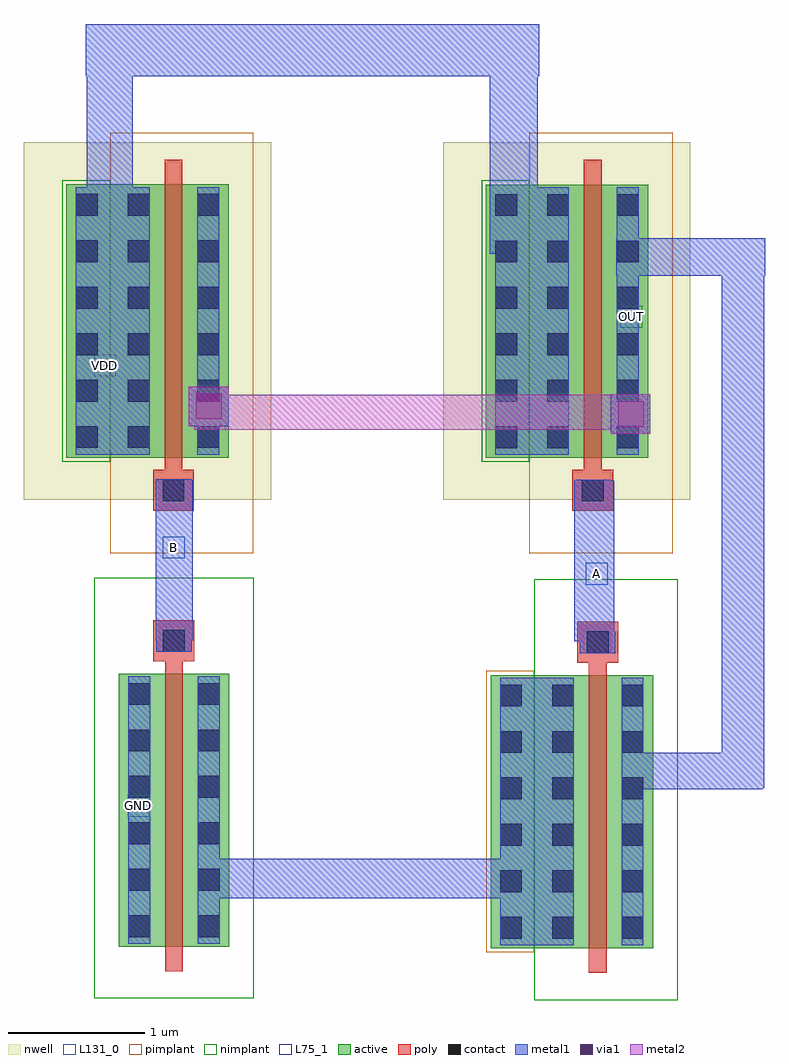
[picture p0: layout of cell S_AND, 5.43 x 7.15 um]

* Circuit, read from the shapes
.subckt S_AND A B GND OUT VDD
M1 VSUBS B GND VSUBS nfet w=2u l=0.13u
M2 OUT A VSUBS VSUBS nfet w=2u l=0.13u
M3 OUT B VDD VDD pfet w=2u l=0.13u
M4 OUT A VDD VDD pfet w=2u l=0.13u
.ends

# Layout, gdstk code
import gdstk
lib = gdstk.Library(unit=1e-6, precision=1e-09)
def R(c, l, rs):  # rectangles x0, y0, x1, y1
    for r in rs: c.add(gdstk.rectangle(r[:2], r[2:], *l))
def A(c, l, x, y, w, h, nx, ny, dx, dy):  # array of equal rectangles
    R(c, l, [(x+i*dx, y+j*dy, x+i*dx+w, y+j*dy+h) for i in range(nx) for j in range(ny)])
nwell = (3, 0)
active = (6, 0)
poly = (17, 0)
pimplant = (25, 0)
nimplant = (26, 0)
contact = (30, 0)
metal1 = (31, 0)
metal2 = (32, 0)
via1 = (51, 0)
L75_1 = (75, 1)
L131_0 = (131, 0)

nmos1v_0 = lib.new_cell('nmos1v_0')
R(nmos1v_0, active, [(-0.34,0,0,2), (0,0,0.13,2), (0.13,0,0.47,2)])
R(nmos1v_0, poly, [(0,-0.18,0.13,0), (0,0,0.13,2), (0,2,0.13,2.09), (-0.085,2.09,0.215,2.39)])
R(nmos1v_0, nimplant, [(-0.52,-0.38,0.65,2.7)])
A(nmos1v_0, contact, -0.27, 0.07, 0.16, 0.16, 1, 6, 0, 0.34)
A(nmos1v_0, contact, 0.24, 0.07, 0.16, 0.16, 1, 6, 0, 0.34)
R(nmos1v_0, contact, [(-0.015,2.16,0.145,2.32)])
R(nmos1v_0, metal1, [(-0.27,0.02,-0.11,1.98), (0.24,0.02,0.4,1.98), (-0.065,2.16,0.195,2.32)])
R(nmos1v_0, L75_1, [(-0.34,0,0.47,2)])
nmos1v_0.add(gdstk.Label('& SerialNumber 000000', (0,0), layer=63, texttype=63))
nmos1v_0.add(gdstk.Label('& Distributor TSMC', (0,0), layer=63, texttype=63))
nmos1v_0.add(gdstk.Label('& Metric 1', (0,0), layer=63, texttype=63))
nmos1v_0.add(gdstk.Label('& Version v1.2aP1', (0,0), layer=63, texttype=63))
nmos1v_0.add(gdstk.Label('& Product    tsmc13rf_PDK', (0,0), layer=63, texttype=63))
nmos1v_0.add(gdstk.Label('& Vendor     Taiwan Semiconductor manufacturing Corp.', (0,0), layer=63, texttype=63))

pmos1v_1 = lib.new_cell('pmos1v_1')
R(pmos1v_1, nwell, [(-1.03,-0.31,0.78,2.31)])
R(pmos1v_1, active, [(-0.72,0,0,2), (0,0,0.13,2), (0.13,0,0.47,2)])
R(pmos1v_1, poly, [(-0.085,-0.39,0.215,-0.09), (0,-0.09,0.13,0), (0,0,0.13,2), (0,2,0.13,2.18)])
R(pmos1v_1, pimplant, [(-0.4,-0.7,0.65,2.38)])
R(pmos1v_1, nimplant, [(-0.75,-0.03,-0.4,2.03)])
A(pmos1v_1, contact, -0.65, 0.07, 0.16, 0.16, 1, 6, 0, 0.34)
A(pmos1v_1, contact, -0.27, 0.07, 0.16, 0.16, 1, 6, 0, 0.34)
A(pmos1v_1, contact, 0.24, 0.07, 0.16, 0.16, 1, 6, 0, 0.34)
R(pmos1v_1, contact, [(-0.015,-0.32,0.145,-0.16)])
R(pmos1v_1, metal1, [(-0.065,-0.32,0.195,-0.16), (-0.65,0.02,-0.11,1.98), (-0.65,0.02,-0.11,1.98), (0.24,0.02,0.4,1.98)])
pmos1v_1.add(gdstk.Label('& SerialNumber 000000', (0,0), layer=63, texttype=63))
pmos1v_1.add(gdstk.Label('& Distributor TSMC', (0,0), layer=63, texttype=63))
pmos1v_1.add(gdstk.Label('& Metric 1', (0,0), layer=63, texttype=63))
pmos1v_1.add(gdstk.Label('& Version v1.2aP1', (0,0), layer=63, texttype=63))
pmos1v_1.add(gdstk.Label('& Product    tsmc13rf_PDK', (0,0), layer=63, texttype=63))
pmos1v_1.add(gdstk.Label('& Vendor     Taiwan Semiconductor manufacturing Corp.', (0,0), layer=63, texttype=63))

nmos1v_2 = lib.new_cell('nmos1v_2')
R(nmos1v_2, active, [(-0.72,0,0,2), (0,0,0.13,2), (0.13,0,0.47,2)])
R(nmos1v_2, poly, [(0,-0.18,0.13,0), (0,0,0.13,2), (0,2,0.13,2.09), (-0.085,2.09,0.215,2.39)])
R(nmos1v_2, pimplant, [(-0.75,-0.03,-0.4,2.03)])
R(nmos1v_2, nimplant, [(-0.4,-0.38,0.65,2.7)])
A(nmos1v_2, contact, -0.65, 0.07, 0.16, 0.16, 1, 6, 0, 0.34)
A(nmos1v_2, contact, -0.27, 0.07, 0.16, 0.16, 1, 6, 0, 0.34)
A(nmos1v_2, contact, 0.24, 0.07, 0.16, 0.16, 1, 6, 0, 0.34)
R(nmos1v_2, contact, [(-0.015,2.16,0.145,2.32)])
R(nmos1v_2, metal1, [(-0.65,0.02,-0.11,1.98), (-0.65,0.02,-0.11,1.98), (0.24,0.02,0.4,1.98), (-0.065,2.16,0.195,2.32)])
R(nmos1v_2, L75_1, [(-0.72,0,0.47,2)])
nmos1v_2.add(gdstk.Label('& SerialNumber 000000', (0,0), layer=63, texttype=63))
nmos1v_2.add(gdstk.Label('& Distributor TSMC', (0,0), layer=63, texttype=63))
nmos1v_2.add(gdstk.Label('& Metric 1', (0,0), layer=63, texttype=63))
nmos1v_2.add(gdstk.Label('& Version v1.2aP1', (0,0), layer=63, texttype=63))
nmos1v_2.add(gdstk.Label('& Product    tsmc13rf_PDK', (0,0), layer=63, texttype=63))
nmos1v_2.add(gdstk.Label('& Vendor     Taiwan Semiconductor manufacturing Corp.', (0,0), layer=63, texttype=63))

m2_m1_0 = lib.new_cell('M2_M1_0')
R(m2_m1_0, metal1, [(-0.145,-0.145,0.145,0.145)])
R(m2_m1_0, metal2, [(-0.145,-0.145,0.145,0.145)])
R(m2_m1_0, via1, [(-0.095,-0.095,0.095,0.095)])

s_and = lib.new_cell('S_AND')
R(s_and, metal1, [(11.565,-11.734,13.994,-11.445), (14.664,-10.935,15.695,-10.667), (15.397,-10.929,15.707,-6.911), (14.315,-9.853,14.608,-8.675), (11.252,-9.846,11.522,-8.667), (14.622,-7.173,15.713,-6.899), (10.746,-7.108,11.081,-5.331), (13.696,-7.015,14.05,-5.349), (10.737,-5.712,14.059,-5.331)])
R(s_and, metal2, [(11.533,-8.302,14.851,-8.045)])
R(s_and, L131_0, [(11.045,-11.136,11.205,-10.976), (14.402,-9.436,14.562,-9.276), (11.303,-9.245,11.463,-9.085), (10.799,-7.912,10.959,-7.752), (14.653,-7.554,14.813,-7.394)])
s_and.add(gdstk.Reference(nmos1v_0, (11.319,-12.088)))
s_and.add(gdstk.Reference(pmos1v_1, (11.316,-8.506)))
s_and.add(gdstk.Reference(pmos1v_1, (14.387,-8.507)))
s_and.add(gdstk.Reference(nmos1v_2, (14.423,-12.099)))
s_and.add(gdstk.Reference(m2_m1_0, (11.639,-8.132)))
s_and.add(gdstk.Reference(m2_m1_0, (14.729,-8.188)))
s_and.add(gdstk.Label('OUT', (14.733,-7.474), layer=131, texttype=0))
s_and.add(gdstk.Label('GND', (11.125,-11.056), layer=131, texttype=0))
s_and.add(gdstk.Label('VDD', (10.879,-7.832), layer=131, texttype=0))
s_and.add(gdstk.Label('B', (11.383,-9.165), layer=131, texttype=0))
s_and.add(gdstk.Label('A', (14.482,-9.356), layer=131, texttype=0))

lib.write_gds('S_AND.gds')
